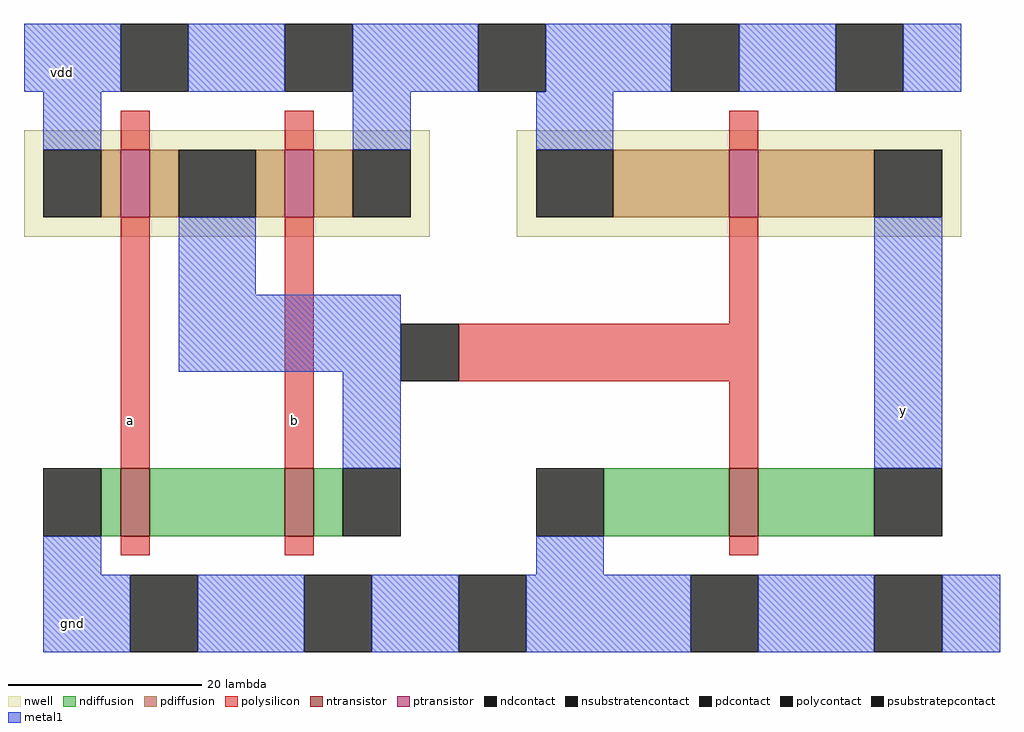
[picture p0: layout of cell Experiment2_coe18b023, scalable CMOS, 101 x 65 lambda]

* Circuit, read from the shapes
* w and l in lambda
.subckt Experiment2_coe18b023 a b gnd vdd y
M1 n1 a gnd gnd nfet w=7 l=3
M2 n2 b n1 gnd nfet w=7 l=3
M3 y n2 gnd gnd nfet w=7 l=3
M4 n2 a vdd n3 pfet w=7 l=3
M5 vdd b n2 n3 pfet w=7 l=3
M6 y n2 vdd n4 pfet w=7 l=3
.ends

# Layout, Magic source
magic
tech scmos
<< nwell >>
rect -52 7 -10 18
rect -1 7 45 18
<< polysilicon >>
rect -42 16 -39 20
rect -25 16 -22 20
rect 21 16 24 20
rect -42 -17 -39 9
rect -25 -17 -22 9
rect 21 -2 24 9
rect -7 -8 24 -2
rect 21 -17 24 -8
rect -42 -26 -39 -24
rect -25 -26 -22 -24
rect 21 -26 24 -24
<< ndiffusion >>
rect -44 -24 -42 -17
rect -39 -24 -25 -17
rect -22 -24 -19 -17
rect 8 -24 21 -17
rect 24 -24 36 -17
<< pdiffusion >>
rect -44 9 -42 16
rect -39 9 -36 16
rect -28 9 -25 16
rect -22 9 -18 16
rect 9 9 21 16
rect 24 9 36 16
<< metal1 >>
rect -52 22 -42 29
rect -35 22 -25 29
rect -18 22 -5 29
rect 2 22 15 29
rect 22 22 32 29
rect 39 22 45 29
rect -50 16 -44 22
rect -18 16 -12 22
rect 1 16 9 22
rect -36 1 -28 9
rect -36 -7 -13 1
rect -19 -17 -13 -7
rect 36 -17 43 9
rect -50 -28 -44 -24
rect 1 -28 8 -24
rect -50 -36 -41 -28
rect -34 -36 -23 -28
rect -16 -36 -7 -28
rect 0 -36 17 -28
rect 24 -36 36 -28
rect 43 -36 49 -28
<< ntransistor >>
rect -42 -24 -39 -17
rect -25 -24 -22 -17
rect 21 -24 24 -17
<< ptransistor >>
rect -42 9 -39 16
rect -25 9 -22 16
rect 21 9 24 16
<< polycontact >>
rect -13 -8 -7 -2
<< ndcontact >>
rect -50 -24 -44 -17
rect -19 -24 -13 -17
rect 1 -24 8 -17
rect 36 -24 43 -17
<< pdcontact >>
rect -50 9 -44 16
rect -36 9 -28 16
rect -18 9 -12 16
rect 1 9 9 16
rect 36 9 43 16
<< psubstratepcontact >>
rect -41 -36 -34 -28
rect -23 -36 -16 -28
rect -7 -36 0 -28
rect 17 -36 24 -28
rect 36 -36 43 -28
<< nsubstratencontact >>
rect -42 22 -35 29
rect -25 22 -18 29
rect -5 22 2 29
rect 15 22 22 29
rect 32 22 39 29
<< labels >>
rlabel metal1 -48 24 -48 24 4 vdd
rlabel metal1 -47 -33 -47 -33 2 gnd
rlabel polysilicon -41 -12 -41 -12 1 a
rlabel polysilicon -24 -12 -24 -12 1 b
rlabel metal1 39 -11 39 -11 1 y
<< end >>
